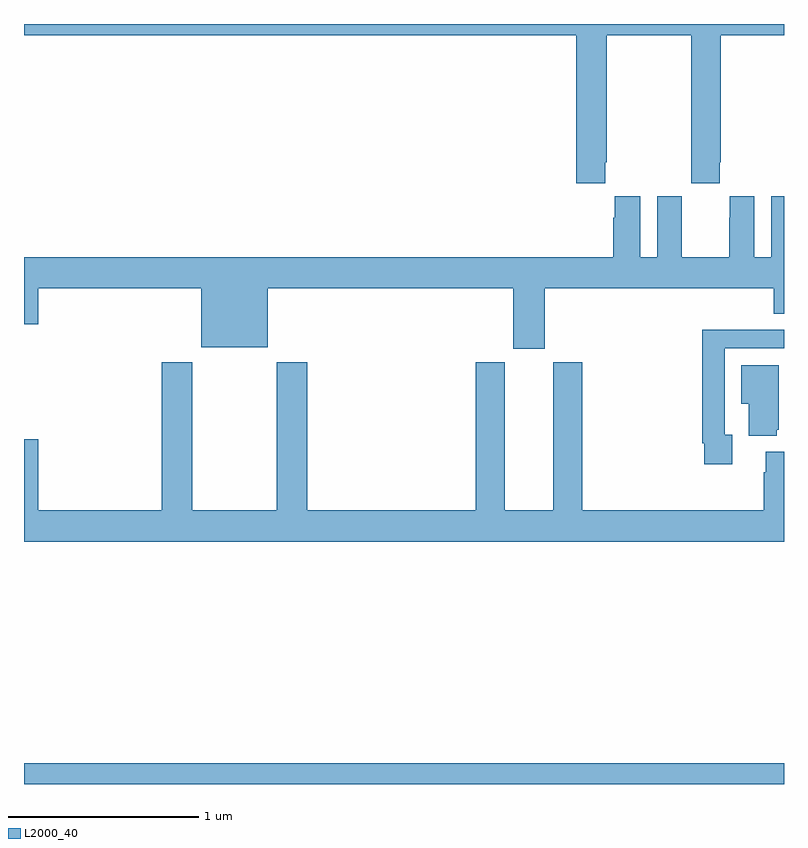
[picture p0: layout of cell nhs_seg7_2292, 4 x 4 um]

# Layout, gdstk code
import gdstk
lib = gdstk.Library(unit=1e-6, precision=1e-09)
def R(c, l, rs):  # rectangles x0, y0, x1, y1
    for r in rs: c.add(gdstk.rectangle(r[:2], r[2:], *l))
def P(c, l, *ps):  # polygons
    for p in ps: c.add(gdstk.Polygon(p, *l))
L2000_40 = (2000, 40)

nhs_seg7_2292 = lib.new_cell('nhs_seg7_2292')
R(nhs_seg7_2292, L2000_40, [(261,1006,265,1006.108)])
P(nhs_seg7_2292, L2000_40, [(264.059,1009.273),(264.066,1009.273),(264.066,1009.94),(264.511,1009.94),(264.511,1009.273),(264.513,1009.273),(264.513,1009.161),(264.663,1009.161),(264.663,1009.273),(264.666,1009.273),(264.666,1009.94),(265,1009.94),(265,1010),(261,1010),(261,1009.94),(263.906,1009.94),(263.906,1009.161),(264.059,1009.161)],
  [(263.74,1008.608),(264.947,1008.608),(264.947,1008.475),(265,1008.475),(265,1009.093),(264.932,1009.093),(264.932,1008.772),(264.844,1008.772),(264.844,1009.093),(264.714,1009.093),(264.714,1008.98),(264.713,1008.98),(264.713,1008.772),(264.463,1008.772),(264.463,1008.98),(264.462,1008.98),(264.462,1009.093),(264.332,1009.093),(264.332,1008.772),(264.244,1008.772),(264.244,1009.093),(264.11,1009.093),(264.11,1008.98),(264.101,1008.98),(264.101,1008.772),(261,1008.772),(261,1008.42),(261.076,1008.42),(261.076,1008.608),(261.932,1008.608),(261.932,1008.299),(262.282,1008.299),(262.282,1008.608),(263.576,1008.608),(263.576,1008.291),(263.74,1008.291)],
  [(264.727,1007.838),(264.687,1007.838),(264.687,1008.294),(265,1008.294),(265,1008.39),(264.863,1008.39),(264.863,1008.392),(264.571,1008.392),(264.571,1007.794),(264.579,1007.794),(264.579,1007.682),(264.727,1007.682)],
  [(265,1007.749),(264.905,1007.749),(264.905,1007.642),(264.893,1007.642),(264.893,1007.44),(263.939,1007.44),(263.939,1008.219),(263.786,1008.219),(263.786,1007.44),(263.53,1007.44),(263.53,1008.219),(263.378,1008.219),(263.378,1007.44),(262.49,1007.44),(262.49,1008.22),(262.33,1008.22),(262.33,1007.44),(261.885,1007.44),(261.885,1008.22),(261.725,1008.22),(261.725,1007.44),(261.076,1007.44),(261.076,1007.815),(261,1007.815),(261,1007.276),(265,1007.276)],
  [(264.962,1007.865),(264.973,1007.865),(264.973,1008.205),(264.776,1008.205),(264.776,1008.002),(264.815,1008.002),(264.815,1007.834),(264.962,1007.834)])

lib.write_gds('nhs_seg7_2292.gds')
